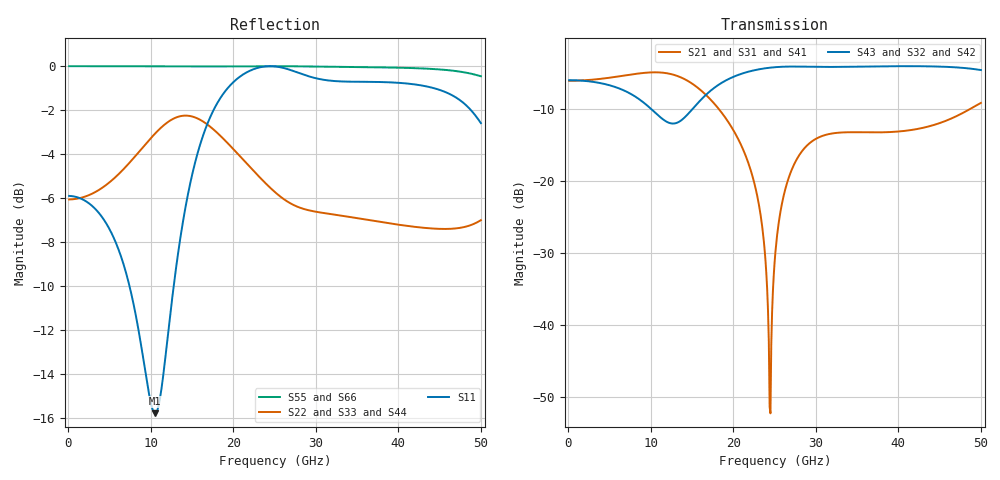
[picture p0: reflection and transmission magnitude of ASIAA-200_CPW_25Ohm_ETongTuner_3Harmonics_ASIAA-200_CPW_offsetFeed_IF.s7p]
! Touchstone file exported from HFSS 2019.1.0
!  File:  D:/pgrimes/HFSS/SMA/ASIAA-200_CPW_25Ohm_ETongTuner_3Harmonics.aedt
!  Generated:  10:53:12 AM  Jun 10, 2019
!  Design:  ASIAA-200_CPW_offsetFeed
!  Project:  ASIAA-200_CPW_25Ohm_ETongTuner_3Harmonics
!  Setup:  Setup1
!  Solution:  IFSweep
! Variables:
!  Area = 2.01061929829747
!  BackshortLength = 13.5mil
!  CPWGap = 4um
!  CPWLength = 32um
!  CPWSidegap = 2um
!  CPWWidth = 10um
!  CPWlineEndgap = 3um
!  CPWlineSidegap = 2um
!  CPWlineWidth = 8um
!  CPWlinelength = 14um
!  Cap = 0fF
!  CenterGap = 2um
!  ChipHeight = 5mil
!  ChipLength = 6mm
!  ChipSlotDepth = 5mil
!  ChipSlotExtDepth = 7.5mil
!  ChipSlotExtLen = 1.75mm
!  ChipSlotExtLength = 1.75mm
!  ChipSlotExtWidth = 16mil
!  ChipSlotFrontDepth = 5mil
!  ChipSlotFrontLength = 2mm
!  ChipSlotFrontWidth = 16mil
!  ChipSlotLength = 6mm
!  ChipSlotWidth = 20mil
!  ChipWidth = 0.5mm
!  FeedExtLength = 30um
!  FeedExtWidth = 10um
!  FeedLength = 100um
!  FeedWidth = 5um
!  GroundThick = 0.2um
!  InputLength = 400um
!  JunctionSize = 1.6um
!  Line2Length = 9um
!  PadWidth = 6um
!  Rj = 13.4286983233787ohm
!  Rn = 13.4286983233787ohm
!  RnA = 27ohm
!  Scap = 0fF
!  SiOlength = 200um
!  SiOstart = 50um
!  SiOthick = 0.25um
!  SiOwidth = 100um
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# GHZ S DB R 50.000000
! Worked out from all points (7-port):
!   500 points, 100 MHz to 50 GHz, reference 50 ohm
!   strongest paths, dB at 100 MHz, 12.6 GHz, 25.1 GHz, 37.6 GHz, 50 GHz:
!     S43: -6.0, -12.0, -4.2, -4.1, -4.6
!     S32: -6.0, -12.1, -4.4, -4.2, -4.7
!     S42: -6.0, -12.1, -4.4, -4.2, -4.7
!     S21: -6.1, -5.2, -29.9, -13.2, -9.1
!     S31: -6.1, -5.2, -30.0, -13.3, -9.2
!     S41: -6.1, -5.2, -30.0, -13.3, -9.2
!   lowest |S11| = -15.8 dB at 10.5 GHz (marker M1), VSWR 1.39, Z = 63.9 - j12.3 ohm
!   |S11| at or under -10 dB: 7.416 GHz to 12.77 GHz (5.359 GHz wide, 53.1 % of centre)
